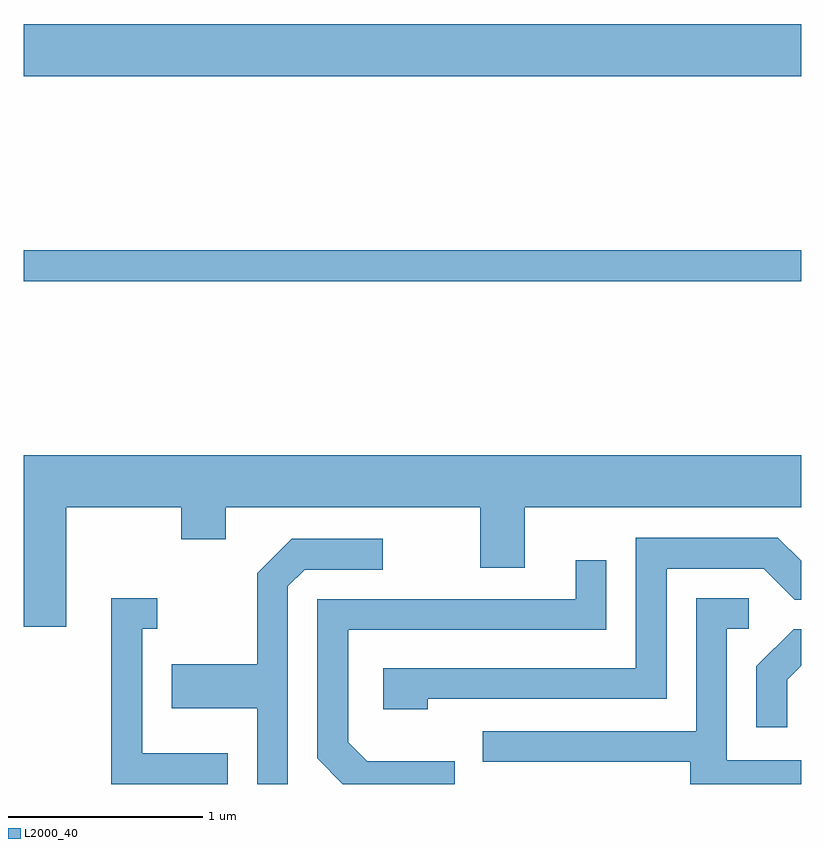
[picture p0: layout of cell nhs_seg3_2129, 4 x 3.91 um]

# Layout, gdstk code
import gdstk
lib = gdstk.Library(unit=1e-6, precision=1e-09)
def R(c, l, rs):  # rectangles x0, y0, x1, y1
    for r in rs: c.add(gdstk.rectangle(r[:2], r[2:], *l))
def P(c, l, *ps):  # polygons
    for p in ps: c.add(gdstk.Polygon(p, *l))
L2000_40 = (2000, 40)

nhs_seg3_2129 = lib.new_cell('nhs_seg3_2129')
R(nhs_seg3_2129, L2000_40, [(247.611,1160.481,251.611,1160.639), (247.611,1161.536,251.611,1161.804)])
P(nhs_seg3_2129, L2000_40, [(247.829,1159.316),(248.421,1159.316),(248.421,1159.151),(248.649,1159.151),(248.649,1159.316),(249.961,1159.316),(249.961,1159.006),(250.189,1159.006),(250.189,1159.316),(251.611,1159.316),(251.611,1159.584),(247.611,1159.584),(247.611,1158.701),(247.829,1158.701)],
  [(249.689,1158.331),(250.919,1158.331),(250.919,1159.001),(251.419,1159.001),(251.579,1158.841),(251.611,1158.841),(251.611,1159.04),(251.492,1159.159),(250.761,1159.159),(250.761,1158.489),(249.461,1158.489),(249.461,1158.276),(249.689,1158.276)],
  [(248.969,1158.909),(249.057,1158.996),(249.458,1158.996),(249.458,1159.154),(248.989,1159.154),(248.811,1158.977),(248.811,1158.509),(248.371,1158.509),(248.371,1158.281),(248.811,1158.281),(248.811,1157.892),(248.969,1157.892)],
  [(249.829,1158.009),(249.377,1158.009),(249.279,1158.107),(249.279,1158.686),(250.609,1158.686),(250.609,1159.043),(250.451,1159.043),(250.451,1158.844),(249.121,1158.844),(249.121,1158.024),(249.253,1157.892),(249.829,1157.892)],
  [(251.611,1158.014),(251.229,1158.014),(251.229,1158.691),(251.343,1158.691),(251.343,1158.849),(251.071,1158.849),(251.071,1158.164),(249.973,1158.164),(249.973,1158.006),(251.041,1158.006),(251.041,1157.892),(251.611,1157.892)],
  [(248.659,1158.049),(248.219,1158.049),(248.219,1158.691),(248.298,1158.691),(248.298,1158.849),(248.061,1158.849),(248.061,1157.892),(248.659,1157.892)],
  [(251.539,1158.429),(251.611,1158.5),(251.611,1158.689),(251.574,1158.689),(251.381,1158.497),(251.381,1158.183),(251.539,1158.183)])

lib.write_gds('nhs_seg3_2129.gds')
